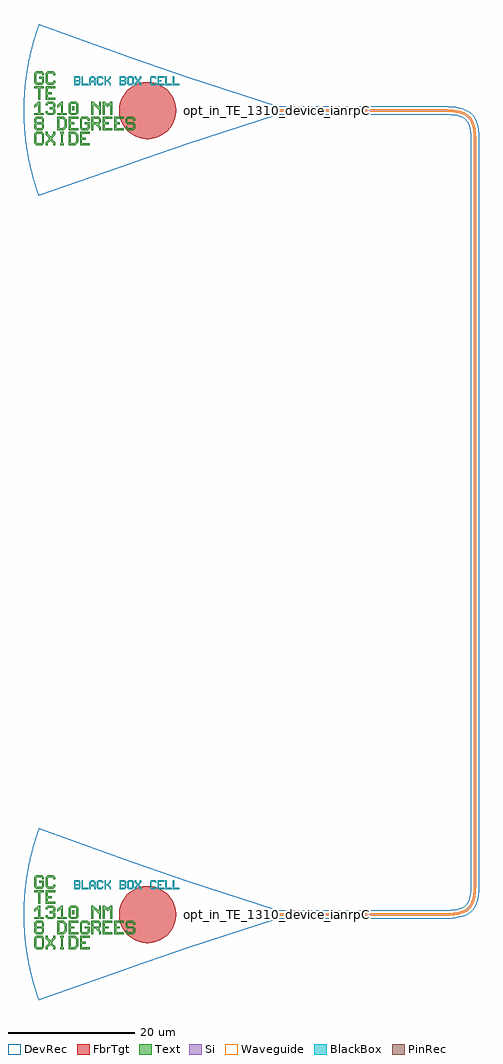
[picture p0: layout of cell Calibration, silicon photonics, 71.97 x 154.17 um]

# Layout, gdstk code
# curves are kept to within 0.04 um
import gdstk
lib = gdstk.Library(unit=1e-6, precision=1e-09)
def R(c, l, rs):  # rectangles x0, y0, x1, y1
    for r in rs: c.add(gdstk.rectangle(r[:2], r[2:], *l))
def P(c, l, *ps):  # polygons
    for p in ps: c.add(gdstk.Polygon(p, *l))
Si = (1, 0)
PinRec = (1, 10)
Waveguide = (1, 99)
Text = (10, 0)
DevRec = (68, 0)
FbrTgt = (81, 0)
BlackBox = (998, 0)

text = lib.new_cell('TEXT')
P(text, BlackBox, [(0,0),(0,1.4),(0.8,1.4),(1,1.2),(0.2,1.2),(0.2,0.8),(0.7,0.8),(0.8,0.9),(0.8,1.1),(0.7,1.2),(1,1.2),(1,0.8),(0.9,0.7),(1,0.6),(0.2,0.6),(0.2,0.2),(0.7,0.2),(0.8,0.3),(0.8,0.5),(0.7,0.6),(1,0.6),(1,0.2),(0.8,0)],
  [(1.2,0),(1.2,1.4),(1.4,1.4),(1.4,0.2),(2.2,0.2),(2.2,0)],
  [(2.4,0),(2.4,1.1),(2.7,1.4),(3.1,1.4),(3.3,1.2),(2.8,1.2),(2.6,1),(2.6,0.7),(3.2,0.7),(3.2,1),(3,1.2),(3.3,1.2),(3.4,1.1),(3.4,0),(3.2,0),(3.2,0.5),(2.6,0.5),(2.6,0)],
  [(3.8,0),(3.6,0.2),(3.6,1.2),(3.8,1.4),(4.4,1.4),(4.6,1.2),(4.6,1),(4.4,1),(4.4,1.1),(4.3,1.2),(3.9,1.2),(3.8,1.1),(3.8,0.3),(3.9,0.2),(4.3,0.2),(4.4,0.3),(4.4,0.4),(4.6,0.4),(4.6,0.2),(4.4,0)],
  [(4.8,0),(4.8,1.4),(5,1.4),(5,0.8),(5.2,0.8),(5.6,1.2),(5.6,1.4),(5.8,1.4),(5.8,1.1),(5.4,0.7),(5.8,0.3),(5.8,0),(5.6,0),(5.6,0.2),(5.2,0.6),(5,0.6),(5,0)],
  [(7.2,0),(7.2,1.4),(8,1.4),(8.2,1.2),(7.4,1.2),(7.4,0.8),(7.9,0.8),(8,0.9),(8,1.1),(7.9,1.2),(8.2,1.2),(8.2,0.8),(8.1,0.7),(8.2,0.6),(7.4,0.6),(7.4,0.2),(7.9,0.2),(8,0.3),(8,0.5),(7.9,0.6),(8.2,0.6),(8.2,0.2),(8,0)],
  [(8.6,0),(8.4,0.2),(8.4,1.2),(8.6,1.4),(9.2,1.4),(9.4,1.2),(9.4,0.7),(9.2,0.7),(9.2,1.1),(9.1,1.2),(8.7,1.2),(8.6,1.1),(8.6,0.3),(8.7,0.2),(9.1,0.2),(9.2,0.3),(9.2,0.7),(9.4,0.7),(9.4,0.2),(9.2,0)],
  [(9.6,0),(9.6,0.3),(9.9,0.6),(9.9,0.8),(9.6,1.1),(9.6,1.4),(9.8,1.4),(9.8,1.2),(10.1,0.9),(10.4,1.2),(10.4,1.4),(10.6,1.4),(10.6,1.1),(10.3,0.8),(10.3,0.6),(10.6,0.3),(10.6,0),(10.4,0),(10.4,0.2),(10.1,0.5),(9.8,0.2),(9.8,0)],
  [(12.2,0),(12,0.2),(12,1.2),(12.2,1.4),(12.8,1.4),(13,1.2),(13,1),(12.8,1),(12.8,1.1),(12.7,1.2),(12.3,1.2),(12.2,1.1),(12.2,0.3),(12.3,0.2),(12.7,0.2),(12.8,0.3),(12.8,0.4),(13,0.4),(13,0.2),(12.8,0)],
  [(13.2,0),(13.2,1.4),(14.2,1.4),(14.2,1.2),(13.4,1.2),(13.4,0.8),(13.8,0.8),(13.8,0.6),(13.4,0.6),(13.4,0.2),(14.2,0.2),(14.2,0)],
  [(14.4,0),(14.4,1.4),(14.6,1.4),(14.6,0.2),(15.4,0.2),(15.4,0)],
  [(15.6,0),(15.6,1.4),(15.8,1.4),(15.8,0.2),(16.6,0.2),(16.6,0)])

gc_te_1310_8degoxide_bb = lib.new_cell('GC_TE_1310_8degOxide_BB')
R(gc_te_1310_8degoxide_bb, Si, [(-0.4,-0.175,0,0.175)])
R(gc_te_1310_8degoxide_bb, Text, [(-32.27,0.06,-31.97,0.66)])
P(gc_te_1310_8degoxide_bb, Text, [(-37.67,1.71),(-37.67,3.51),(-38.27,3.51),(-38.27,3.81),(-36.77,3.81),(-36.77,3.51),(-37.37,3.51),(-37.37,1.71)],
  [(-37.97,-5.49),(-38.27,-5.19),(-38.27,-3.69),(-37.97,-3.39),(-37.07,-3.39),(-36.77,-3.69),(-36.77,-4.44),(-37.07,-4.44),(-37.07,-3.84),(-37.22,-3.69),(-37.82,-3.69),(-37.97,-3.84),(-37.97,-5.04),(-37.82,-5.19),(-37.22,-5.19),(-37.07,-5.04),(-37.07,-4.44),(-36.77,-4.44),(-36.77,-5.19),(-37.07,-5.49)],
  [(-31.07,-5.49),(-31.07,-3.39),(-29.57,-3.39),(-29.57,-3.69),(-30.77,-3.69),(-30.77,-4.29),(-30.17,-4.29),(-30.17,-4.59),(-30.77,-4.59),(-30.77,-5.19),(-29.57,-5.19),(-29.57,-5.49)],
  [(-32.87,-3.09),(-32.87,-0.99),(-31.37,-0.99),(-31.37,-1.29),(-32.57,-1.29),(-32.57,-1.89),(-31.97,-1.89),(-31.97,-2.19),(-32.57,-2.19),(-32.57,-2.79),(-31.37,-2.79),(-31.37,-3.09)],
  [(-27.47,-3.09),(-27.47,-0.99),(-25.97,-0.99),(-25.97,-1.29),(-27.17,-1.29),(-27.17,-1.89),(-26.57,-1.89),(-26.57,-2.19),(-27.17,-2.19),(-27.17,-2.79),(-25.97,-2.79),(-25.97,-3.09)],
  [(-25.67,-3.09),(-25.67,-0.99),(-24.17,-0.99),(-24.17,-1.29),(-25.37,-1.29),(-25.37,-1.89),(-24.77,-1.89),(-24.77,-2.19),(-25.37,-2.19),(-25.37,-2.79),(-24.17,-2.79),(-24.17,-3.09)],
  [(-36.47,1.71),(-36.47,3.81),(-34.97,3.81),(-34.97,3.51),(-36.17,3.51),(-36.17,2.91),(-35.57,2.91),(-35.57,2.61),(-36.17,2.61),(-36.17,2.01),(-34.97,2.01),(-34.97,1.71)],
  [(-27.47,-0.69),(-27.47,1.41),(-27.17,1.41),(-26.87,1.11),(-26.57,1.11),(-26.27,1.41),(-25.97,1.41),(-25.97,-0.69),(-26.27,-0.69),(-26.27,0.81),(-26.42,0.81),(-26.72,0.51),(-27.02,0.81),(-27.17,0.81),(-27.17,-0.69)],
  [(-29.27,-0.69),(-29.27,1.41),(-28.97,1.41),(-28.22,0.66),(-28.07,0.66),(-28.07,1.41),(-27.77,1.41),(-27.77,-0.69),(-28.07,-0.69),(-28.07,0.06),(-28.82,0.81),(-28.97,0.81),(-28.97,-0.69)],
  [(-34.22,-5.49),(-34.22,-5.19),(-34.07,-5.19),(-34.07,-3.69),(-34.22,-3.69),(-34.22,-3.39),(-33.62,-3.39),(-33.62,-3.69),(-33.77,-3.69),(-33.77,-5.19),(-33.62,-5.19),(-33.62,-5.49)],
  [(-36.17,-0.69),(-36.47,-0.39),(-36.47,-0.09),(-36.17,-0.09),(-36.17,-0.24),(-36.02,-0.39),(-35.42,-0.39),(-35.27,-0.24),(-35.27,0.06),(-35.42,0.21),(-35.87,0.21),(-35.87,0.51),(-35.42,0.51),(-35.27,0.66),(-35.27,0.96),(-35.42,1.11),(-36.02,1.11),(-36.17,0.96),(-36.17,0.81),(-36.47,0.81),(-36.47,1.11),(-36.17,1.41),(-35.27,1.41),(-34.97,1.11),(-34.97,0.51),(-35.12,0.36),(-34.97,0.21),(-34.97,-0.39),(-35.27,-0.69)],
  [(-29.27,-3.09),(-29.27,-0.99),(-28.07,-0.99),(-27.77,-1.29),(-28.97,-1.29),(-28.97,-1.89),(-28.22,-1.89),(-28.07,-1.74),(-28.07,-1.44),(-28.22,-1.29),(-27.77,-1.29),(-27.77,-1.89),(-28.07,-2.19),(-28.07,-2.34),(-27.77,-2.64),(-27.77,-3.09),(-28.07,-3.09),(-28.07,-2.79),(-28.67,-2.19),(-28.97,-2.19),(-28.97,-3.09)],
  [(-30.77,-3.09),(-31.07,-2.79),(-31.07,-1.29),(-30.77,-0.99),(-29.87,-0.99),(-29.57,-1.29),(-29.57,-1.59),(-29.87,-1.59),(-29.87,-1.44),(-30.02,-1.29),(-30.62,-1.29),(-30.77,-1.44),(-30.77,-2.64),(-30.62,-2.79),(-30.02,-2.79),(-29.87,-2.64),(-29.87,-2.19),(-30.32,-2.19),(-30.32,-1.89),(-29.57,-1.89),(-29.57,-2.79),(-29.87,-3.09)],
  [(-37.97,4.11),(-38.27,4.41),(-38.27,5.91),(-37.97,6.21),(-37.07,6.21),(-36.77,5.91),(-36.77,5.61),(-37.07,5.61),(-37.07,5.76),(-37.22,5.91),(-37.82,5.91),(-37.97,5.76),(-37.97,4.56),(-37.82,4.41),(-37.22,4.41),(-37.07,4.56),(-37.07,5.01),(-37.52,5.01),(-37.52,5.31),(-36.77,5.31),(-36.77,4.41),(-37.07,4.11)],
  [(-32.57,-0.69),(-32.87,-0.39),(-32.87,1.11),(-32.57,1.41),(-31.67,1.41),(-31.37,1.11),(-32.42,1.11),(-32.57,0.96),(-32.57,-0.24),(-32.42,-0.39),(-31.82,-0.39),(-31.67,-0.24),(-31.67,0.96),(-31.82,1.11),(-31.37,1.11),(-31.37,-0.39),(-31.67,-0.69)],
  [(-32.87,-5.49),(-32.87,-3.39),(-31.82,-3.39),(-31.52,-3.69),(-32.57,-3.69),(-32.57,-5.19),(-31.97,-5.19),(-31.67,-4.89),(-31.67,-3.99),(-31.97,-3.69),(-31.52,-3.69),(-31.37,-3.84),(-31.37,-5.04),(-31.82,-5.49)],
  [(-34.67,-3.09),(-34.67,-0.99),(-33.62,-0.99),(-33.32,-1.29),(-34.37,-1.29),(-34.37,-2.79),(-33.77,-2.79),(-33.47,-2.49),(-33.47,-1.59),(-33.77,-1.29),(-33.32,-1.29),(-33.17,-1.44),(-33.17,-2.64),(-33.62,-3.09)],
  [(-23.57,-3.09),(-23.87,-2.79),(-23.87,-2.49),(-23.57,-2.49),(-23.57,-2.64),(-23.42,-2.79),(-22.82,-2.79),(-22.67,-2.64),(-22.67,-2.34),(-22.82,-2.19),(-23.57,-2.19),(-23.87,-1.89),(-23.87,-1.29),(-23.57,-0.99),(-22.67,-0.99),(-22.37,-1.29),(-22.37,-1.59),(-22.67,-1.59),(-22.67,-1.44),(-22.82,-1.29),(-23.42,-1.29),(-23.57,-1.44),(-23.57,-1.74),(-23.42,-1.89),(-22.67,-1.89),(-22.37,-2.19),(-22.37,-2.79),(-22.67,-3.09)],
  [(-37.97,-3.09),(-38.27,-2.79),(-38.27,-2.19),(-38.12,-2.04),(-38.27,-1.89),(-38.27,-1.29),(-37.97,-0.99),(-37.07,-0.99),(-36.77,-1.29),(-37.82,-1.29),(-37.97,-1.44),(-37.97,-1.74),(-37.82,-1.89),(-37.22,-1.89),(-37.07,-1.74),(-37.07,-1.44),(-37.22,-1.29),(-36.77,-1.29),(-36.77,-1.89),(-36.92,-2.04),(-36.77,-2.19),(-37.82,-2.19),(-37.97,-2.34),(-37.97,-2.64),(-37.82,-2.79),(-37.22,-2.79),(-37.07,-2.64),(-37.07,-2.34),(-37.22,-2.19),(-36.77,-2.19),(-36.77,-2.79),(-37.07,-3.09)],
  [(-38.27,-0.69),(-38.27,-0.39),(-37.67,-0.39),(-37.67,0.81),(-37.82,0.81),(-38.12,0.51),(-38.27,0.51),(-38.27,0.81),(-37.67,1.41),(-37.37,1.41),(-37.37,-0.39),(-36.77,-0.39),(-36.77,-0.69)],
  [(-34.67,-0.69),(-34.67,-0.39),(-34.07,-0.39),(-34.07,0.81),(-34.22,0.81),(-34.52,0.51),(-34.67,0.51),(-34.67,0.81),(-34.07,1.41),(-33.77,1.41),(-33.77,-0.39),(-33.17,-0.39),(-33.17,-0.69)],
  [(-36.47,-5.49),(-36.47,-5.04),(-36.02,-4.59),(-36.02,-4.29),(-36.47,-3.84),(-36.47,-3.39),(-36.17,-3.39),(-36.17,-3.69),(-35.72,-4.14),(-35.27,-3.69),(-35.27,-3.39),(-34.97,-3.39),(-34.97,-3.84),(-35.42,-4.29),(-35.42,-4.59),(-34.97,-5.04),(-34.97,-5.49),(-35.27,-5.49),(-35.27,-5.19),(-35.72,-4.74),(-36.17,-5.19),(-36.17,-5.49)],
  [(-36.17,4.11),(-36.47,4.41),(-36.47,5.91),(-36.17,6.21),(-35.27,6.21),(-34.97,5.91),(-34.97,5.61),(-35.27,5.61),(-35.27,5.76),(-35.42,5.91),(-36.02,5.91),(-36.17,5.76),(-36.17,4.56),(-36.02,4.41),(-35.42,4.41),(-35.27,4.56),(-35.27,4.71),(-34.97,4.71),(-34.97,4.41),(-35.27,4.11)])
P(gc_te_1310_8degoxide_bb, DevRec, [(-37.607,-13.5),(-38.627,-10.245),(-39.378,-6.832),(-39.647,-5.058),(-39.835,-3.274),(-39.969,0.224),(-39.812,3.541),(-39.331,7.097),(-38.557,10.505),(-37.546,13.669),(-22.8,8.353),(-14.109,5.36),(0,0.75),(0,-0.75),(-14.109,-5.36)])
P(gc_te_1310_8degoxide_bb, FbrTgt, [(-20.621,-4.5),(-21.495,-4.37),(-22.326,-4.073),(-23.084,-3.619),(-23.738,-3.026),(-24.264,-2.316),(-24.642,-1.518),(-24.857,-0.661),(-24.9,0.221),(-24.77,1.095),(-24.473,1.926),(-24.019,2.684),(-23.426,3.338),(-22.716,3.864),(-21.918,4.242),(-21.061,4.457),(-20.179,4.5),(-19.305,4.37),(-18.474,4.073),(-17.716,3.619),(-17.062,3.026),(-16.536,2.316),(-16.158,1.518),(-15.943,0.661),(-15.9,-0.221),(-16.03,-1.095),(-16.327,-1.926),(-16.781,-2.684),(-17.374,-3.338),(-18.084,-3.864),(-18.882,-4.242),(-19.739,-4.457)])
gc_te_1310_8degoxide_bb.add(gdstk.FlexPath([(-0.01,0),(0.01,0)], 0.35, ends="flush", simple_path=True, layer=1, datatype=10))  # PinRec
gc_te_1310_8degoxide_bb.add(gdstk.Reference(text, (-32,4)))
gc_te_1310_8degoxide_bb.add(gdstk.Label('opt1', (0,0), layer=1, texttype=10))
gc_te_1310_8degoxide_bb.add(gdstk.Label('Lumerical_INTERCONNECT_library=Design kits/ebeam', (-29,-7), layer=68, texttype=0))
gc_te_1310_8degoxide_bb.add(gdstk.Label('Component=GC_TE_1310_8degOxide_BB', (-28,-5), layer=68, texttype=0))

waveguide_1_2 = lib.new_cell('Waveguide$1$2')
P(waveguide_1_2, Si, [(562.48,265.645),(562.48,265.995),(588.81,265.995),(590.203,266.049),(591.444,266.263),(591.935,266.439),(592.438,266.73),(592.834,267.106),(593.086,267.481),(593.286,267.931),(593.438,268.463),(593.582,269.428),(593.635,270.82),(593.635,387.82),(593.581,389.213),(593.403,390.319),(593.24,390.83),(592.966,391.355),(592.686,391.696),(592.344,391.977),(591.934,392.202),(591.443,392.378),(590.867,392.507),(590.021,392.606),(588.81,392.645),(562.48,392.645),(562.48,392.995),(589.031,392.994),(590.234,392.94),(591.243,392.79),(591.949,392.575),(592.54,392.267),(593.021,391.853),(593.326,391.442),(593.615,390.828),(593.779,390.254),(593.911,389.426),(593.98,388.256),(593.985,270.82),(593.946,269.583),(593.78,268.387),(593.616,267.813),(593.327,267.199),(593.022,266.788),(592.646,266.448),(592.2,266.177),(591.681,265.969),(591.088,265.819),(590.235,265.701),(588.81,265.645)])
P(waveguide_1_2, Waveguide, [(562.48,265.645),(562.48,265.995),(588.81,265.995),(590.203,266.049),(591.444,266.263),(591.935,266.439),(592.438,266.73),(592.834,267.106),(593.086,267.481),(593.286,267.931),(593.438,268.463),(593.582,269.428),(593.635,270.82),(593.635,387.82),(593.581,389.213),(593.403,390.319),(593.24,390.83),(592.966,391.355),(592.686,391.696),(592.344,391.977),(591.934,392.202),(591.443,392.378),(590.867,392.507),(590.021,392.606),(588.81,392.645),(562.48,392.645),(562.48,392.995),(589.031,392.994),(590.234,392.94),(591.243,392.79),(591.949,392.575),(592.54,392.267),(593.021,391.853),(593.326,391.442),(593.615,390.828),(593.779,390.254),(593.911,389.426),(593.98,388.256),(593.985,270.82),(593.946,269.583),(593.78,268.387),(593.616,267.813),(593.327,267.199),(593.022,266.788),(592.646,266.448),(592.2,266.177),(591.681,265.969),(591.088,265.819),(590.235,265.701),(588.81,265.645)])
P(waveguide_1_2, DevRec, [(562.48,265.145),(562.48,266.495),(588.81,266.495),(590.566,266.594),(591.409,266.775),(591.737,266.898),(592.235,267.206),(592.425,267.396),(592.733,267.894),(592.958,268.612),(593.093,269.584),(593.135,270.82),(593.135,387.82),(593.092,389.057),(592.957,390.029),(592.855,390.419),(592.588,391.018),(592.424,391.245),(592.007,391.599),(591.408,391.866),(591.018,391.968),(590.046,392.103),(588.81,392.145),(562.48,392.145),(562.48,393.495),(588.81,393.495),(590.154,393.449),(591.304,393.288),(592.288,392.975),(592.721,392.745),(593.11,392.461),(593.734,391.732),(593.964,391.299),(594.277,390.315),(594.474,388.52),(594.485,270.82),(594.439,269.476),(594.278,268.326),(593.965,267.342),(593.735,266.909),(593.111,266.18),(592.722,265.896),(591.815,265.487),(591.305,265.353),(590.155,265.192),(588.81,265.145)])
waveguide_1_2.add(gdstk.FlexPath([(562.49,392.82),(562.47,392.82)], 0.35, ends="flush", simple_path=True, layer=1, datatype=10))  # PinRec
waveguide_1_2.add(gdstk.FlexPath([(562.49,265.82),(562.47,265.82)], 0.35, ends="flush", simple_path=True, layer=1, datatype=10))  # PinRec
waveguide_1_2.add(gdstk.Label('opt1', (562.48,392.82), layer=1, texttype=10))
waveguide_1_2.add(gdstk.Label('opt2', (562.48,265.82), layer=1, texttype=10))
waveguide_1_2.add(gdstk.Label('Lumerical_INTERCONNECT_library=Design kits/EBeam', (562.48,392.75), layer=68, texttype=0))
waveguide_1_2.add(gdstk.Label('Component=ebeam_wg_integral_1310', (562.48,392.89), layer=68, texttype=0))
waveguide_1_2.add(gdstk.Label('cellName=Waveguide', (562.48,392.96), layer=68, texttype=0))
waveguide_1_2.add(gdstk.Label('Spice_param:wg_length=0.000186567 wg_width=3.5e-07 points="[[562.48,392.82],[593.81,392.82],[593.81,265.82],[562.48,265.82]]" radius=5e-06', (562.48,392.82), layer=68, texttype=0))
waveguide_1_2.add(gdstk.Label('Length=186.567 (microns)', (562.48,392.4), layer=68, texttype=0))
waveguide_1_2.add(gdstk.Label('waveguide_type=Strip TE 1310 nm, w=350 nm', (562.48,392.68), layer=68, texttype=0))

calibration = lib.new_cell('Calibration')
r = gdstk.Reference(gc_te_1310_8degoxide_bb, (39.969,13.5)); r.repetition = gdstk.Repetition(1, 2, v1=(0,0), v2=(0,127)); calibration.add(r)
calibration.add(gdstk.Reference(waveguide_1_2, (-522.511,-252.32)))
calibration.add(gdstk.Label('opt_in_TE_1310_device_ianrpChip1Cal23', (39.97,140.5), layer=10, texttype=0))
calibration.add(gdstk.Label('opt_in_TE_1310_device_ianrpChip1Cal21', (39.969,13.5), layer=10, texttype=0))

lib.write_gds('Calibration.gds')
